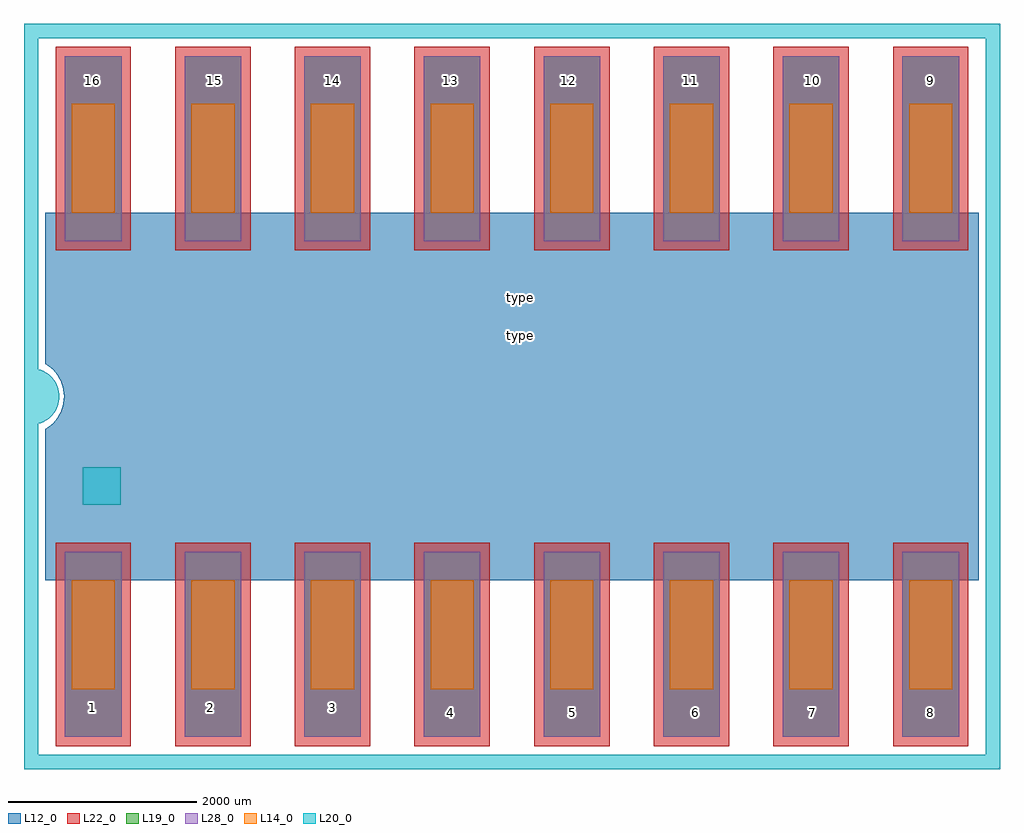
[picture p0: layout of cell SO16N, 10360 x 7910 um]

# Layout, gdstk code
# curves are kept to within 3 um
import gdstk
lib = gdstk.Library(unit=1e-6, precision=1e-09)
def R(c, l, rs):  # rectangles x0, y0, x1, y1
    for r in rs: c.add(gdstk.rectangle(r[:2], r[2:], *l))
def A(c, l, x, y, w, h, nx, ny, dx, dy):  # array of equal rectangles
    R(c, l, [(x+i*dx, y+j*dy, x+i*dx+w, y+j*dy+h) for i in range(nx) for j in range(ny)])
def P(c, l, *ps):  # polygons
    for p in ps: c.add(gdstk.Polygon(p, *l))
L12_0 = (12, 0)
L14_0 = (14, 0)
L19_0 = (19, 0)
L20_0 = (20, 0)
L22_0 = (22, 0)
L28_0 = (28, 0)

so16n = lib.new_cell('SO16N')
P(so16n, L12_0, [(9910.005,3900.005),(0,3900.005),(0,2296.413),(29.431,2277.664),(82.843,2232.846),(127.661,2179.434),(146.41,2150.003),(175.877,2086.811),(186.37,2053.531),(198.478,1984.865),(200,1950.003),(198.478,1915.141),(186.37,1846.475),(175.877,1813.195),(146.41,1750.003),(127.661,1720.572),(82.843,1667.16),(29.431,1622.342),(0,1603.593),(0,0),(9910.005,0)])
A(so16n, L14_0, 280, -1160, 460, 1160, 8, 2, 1270, 5060)
A(so16n, L19_0, 210, -1660, 600, 1960, 8, 2, 1270, 5260)
R(so16n, L20_0, [(400,800,800,1200)])
P(so16n, L20_0, [(-150,2250),(-150,1650),(-97.906,1654.558),(-47.394,1668.092),(22.073,1704.254),(62.132,1737.868),(95.746,1777.927),(131.908,1847.394),(145.442,1897.906),(150,1950),(145.442,2002.094),(131.908,2052.606),(95.746,2122.073),(62.132,2162.132),(22.073,2195.746),(-47.394,2231.908),(-97.906,2245.442)])
A(so16n, L22_0, 110, -1760, 800, 2160, 8, 2, 1270, 5260)
A(so16n, L28_0, 210, -1660, 600, 1960, 8, 2, 1270, 5260)
so16n.add(gdstk.FlexPath([(-150,5755),(-150,-1930),(10060,-1930),(10060,5830),(-225,5830)], 150, ends="flush", simple_path=True, layer=20, datatype=0))  # L20_0
so16n.add(gdstk.Label('16', (500,5300), layer=28, texttype=0))
so16n.add(gdstk.Label('15', (1800,5300), layer=28, texttype=0))
so16n.add(gdstk.Label('14', (3050,5300), layer=28, texttype=0))
so16n.add(gdstk.Label('13', (4300,5300), layer=28, texttype=0))
so16n.add(gdstk.Label('12', (5550,5300), layer=28, texttype=0))
so16n.add(gdstk.Label('11', (6850,5300), layer=28, texttype=0))
so16n.add(gdstk.Label('10', (8150,5300), layer=28, texttype=0))
so16n.add(gdstk.Label('9', (9400,5300), layer=28, texttype=0))
so16n.add(gdstk.Label('8', (9400,-1400), layer=28, texttype=0))
so16n.add(gdstk.Label('7', (8150,-1400), layer=28, texttype=0))
so16n.add(gdstk.Label('6', (6900,-1400), layer=28, texttype=0))
so16n.add(gdstk.Label('5', (5600,-1400), layer=28, texttype=0))
so16n.add(gdstk.Label('4', (4300,-1400), layer=28, texttype=0))
so16n.add(gdstk.Label('3', (3050,-1350), layer=28, texttype=0))
so16n.add(gdstk.Label('2', (1750,-1350), layer=28, texttype=0))
so16n.add(gdstk.Label('1', (500,-1350), layer=28, texttype=0))
so16n.add(gdstk.Label('type', (5050,2600), layer=10, texttype=0))
so16n.add(gdstk.Label('type', (5050,3000), layer=20, texttype=0))
so16n.add(gdstk.Label('devicename', (-600,2000), layer=20, texttype=0))

lib.write_gds('SO16N.gds')
